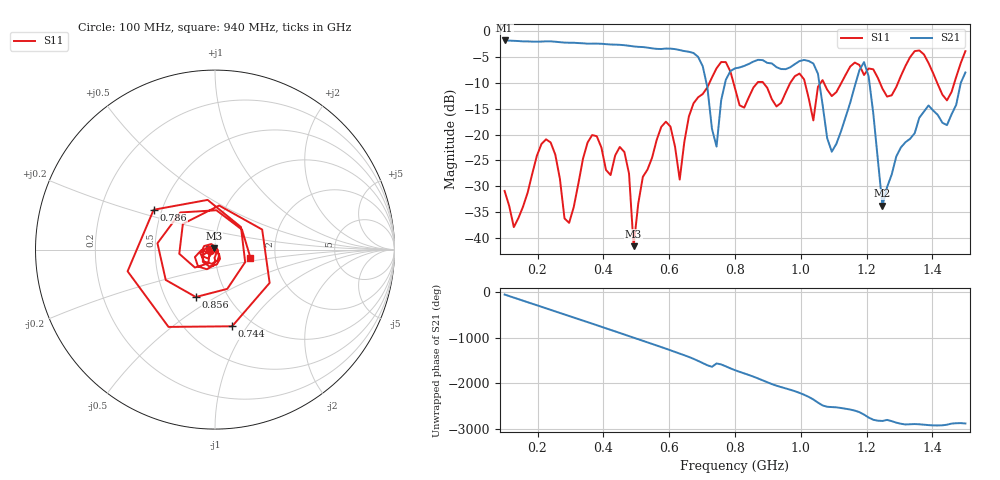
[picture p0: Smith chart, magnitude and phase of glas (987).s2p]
! NanoVNA-App
! Date: 2025-09-25 16:03:09
! Start: 100MHz Stop: 1,5GHz Points: 101
! S-Parameter data: F S11 S21 S12 S22
# Hz S RI R 50
!  Frequency  S11_Real  S11_Imag  S21_Real  S21_Imag  S12_Real  S12_Imag  S22_Real  S22_Imag
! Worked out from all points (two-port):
!   101 points, 100 MHz to 1.5 GHz, reference 50 ohm
!   highest |S21| = -1.80 dB at 100 MHz (marker M1); lowest = -33.8 dB at 1.248 GHz (marker M2)
!   |S21| within 3 dB of the highest: start of sweep to 684.6 MHz
!   lowest |S11| = -41.6 dB at 492 MHz (marker M3), VSWR 1.02, Z = 49.5 + j0.64 ohm
!   |S11| at or under -10 dB: start of sweep to 722.4 MHz; 795.5 MHz to 867.8 MHz (72.35 MHz wide, 8.7 % of centre); 886.1 MHz to 967.9 MHz (81.79 MHz wide, 8.82 % of centre) (the widest 3 of 7)
!   S12 and S22 are empty: the file has one direction only
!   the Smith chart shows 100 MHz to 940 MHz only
!   S11 on the Smith chart (normalised r, x): 100 MHz: 0.94, -0.01; 744 MHz: 0.81, -0.85; 786 MHz: 0.45, +0.24; 856 MHz: 0.71, -0.41; 940 MHz: 1.48, -0.14
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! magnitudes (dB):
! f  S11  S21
! 100 MHz  -30.9  -1.8
! 128 MHz  -37.9  -1.9
! 226 MHz  -20.9  -2.0
! 296 MHz  -37.1  -2.2
! 338 MHz  -24.7  -2.4
! 464 MHz  -23.4  -2.7
! 492 MHz  -41.6  -3.0
! 576 MHz  -18.5  -3.5
! 632 MHz  -28.7  -3.7
! 702 MHz  -12.2  -6.8
! 744 MHz  -7.2  -22.3
! 786 MHz  -7.8  -7.7
! 800 MHz  -11.1  -7.2
! 856 MHz  -10.9  -5.9
! 940 MHz  -13.9  -7.3
! 996 MHz  -8.2  -5.8
! 1.038 GHz  -17.3  -6.3
! 1.094 GHz  -12.6  -23.3
! 1.192 GHz  -8.5  -6.0
! 1.248 GHz  -11.1  -33.8
! 1.276 GHz  -12.4  -27.8
! 1.5 GHz  -3.9  -8.0
